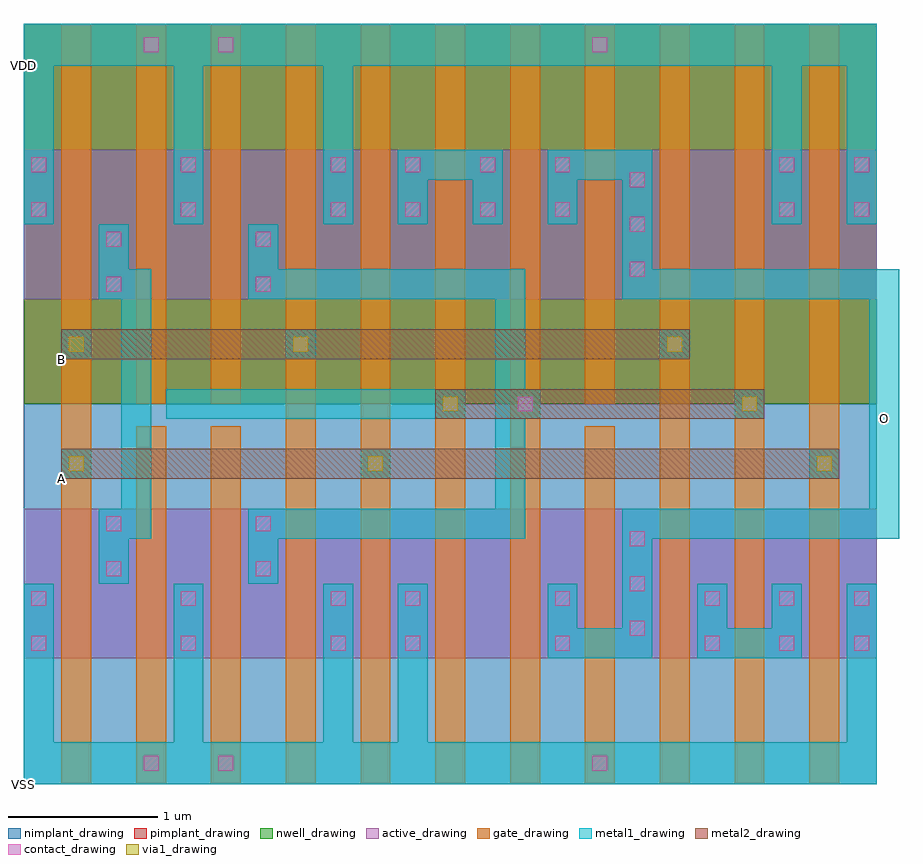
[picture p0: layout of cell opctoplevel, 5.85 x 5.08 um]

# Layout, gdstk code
import gdstk
lib = gdstk.Library(unit=1e-6, precision=1e-09)
def R(c, l, rs):  # rectangles x0, y0, x1, y1
    for r in rs: c.add(gdstk.rectangle(r[:2], r[2:], *l))
def A(c, l, x, y, w, h, nx, ny, dx, dy):  # array of equal rectangles
    R(c, l, [(x+i*dx, y+j*dy, x+i*dx+w, y+j*dy+h) for i in range(nx) for j in range(ny)])
active_drawing = (1, 0)
nwell_drawing = (3, 0)
pimplant_drawing = (4, 0)
nimplant_drawing = (5, 0)
gate_drawing = (6, 0)
contact_drawing = (7, 0)
metal1_drawing = (8, 0)
via1_drawing = (9, 0)
metal2_drawing = (10, 0)

opctoplevel = lib.new_cell('opctoplevel')
A(opctoplevel, active_drawing, 0, 0, 0.7, 1, 11, 2, 0.5, 2.4)
A(opctoplevel, nwell_drawing, 0, 1.7, 0.7, 2.54, 11, 1, 0.5, 0)
A(opctoplevel, pimplant_drawing, 0, 1.7, 0.7, 2.54, 11, 1, 0.5, 0)
A(opctoplevel, nimplant_drawing, 0, -0.84, 0.7, 2.54, 11, 1, 0.5, 0)
A(opctoplevel, gate_drawing, 0.25, 1.7, 0.2, 2.54, 11, 1, 0.5, 0)
R(opctoplevel, gate_drawing, [(0.25,-0.84,0.45,1.7), (0.75,-0.84,0.95,1.55), (0.75,-0.84,0.95,-0.56), (1.25,-0.84,1.45,1.55), (1.25,-0.84,1.45,-0.56), (1.75,-0.84,1.95,2.2), (2.25,-0.84,2.45,1.7), (2.75,-0.84,2.95,1.8), (3.25,-0.84,3.45,1.8), (3.75,-0.84,3.95,1.55), (3.75,-0.84,3.95,-0.56), (4.25,-0.84,4.45,2.2), (4.75,-0.84,4.95,1.8), (5.25,-0.84,5.45,1.7), (0.25,1.2,0.45,1.4), (2.25,1.2,2.45,1.4), (5.25,1.2,5.45,1.4), (2.75,1.6,2.95,1.8), (3.25,1.6,3.45,1.8), (4.75,1.6,4.95,1.8), (1.75,2,1.95,2.2), (4.25,2,4.45,2.2), (0.75,3.96,0.95,4.24), (1.25,3.96,1.45,4.24), (3.75,3.96,3.95,4.24)])
A(opctoplevel, contact_drawing, 0.05, 0.05, 0.1, 0.1, 3, 2, 1, 0.3)
A(opctoplevel, contact_drawing, 2.55, 0.05, 0.1, 0.1, 3, 2, 1, 0.3)
A(opctoplevel, contact_drawing, 4.05, 0.15, 0.1, 0.1, 1, 3, 0, 0.3)
A(opctoplevel, contact_drawing, 4.05, 2.55, 0.1, 0.1, 1, 3, 0, 0.3)
A(opctoplevel, contact_drawing, 0.05, 2.95, 0.1, 0.1, 3, 2, 1, 0.3)
A(opctoplevel, contact_drawing, 2.55, 2.95, 0.1, 0.1, 3, 2, 0.5, 0.3)
R(opctoplevel, contact_drawing, [(0.8,-0.75,0.9,-0.65), (1.3,-0.75,1.4,-0.65), (3.8,-0.75,3.9,-0.65), (5.05,0.05,5.15,0.15), (5.55,0.05,5.65,0.15), (5.05,0.35,5.15,0.45), (5.55,0.35,5.65,0.45), (0.55,0.55,0.65,0.65), (1.55,0.55,1.65,0.65), (0.55,0.85,0.65,0.95), (1.55,0.85,1.65,0.95), (0.3,1.25,0.4,1.35), (2.3,1.25,2.4,1.35), (5.3,1.25,5.4,1.35), (2.8,1.65,2.9,1.75), (3.3,1.65,3.4,1.75), (4.8,1.65,4.9,1.75), (1.8,2.05,1.9,2.15), (4.3,2.05,4.4,2.15), (0.55,2.45,0.65,2.55), (1.55,2.45,1.65,2.55), (0.55,2.75,0.65,2.85), (1.55,2.75,1.65,2.85), (5.05,2.95,5.15,3.05), (5.55,2.95,5.65,3.05), (5.05,3.25,5.15,3.35), (5.55,3.25,5.65,3.35), (0.8,4.05,0.9,4.15), (1.3,4.05,1.4,4.15), (3.8,4.05,3.9,4.15)])
A(opctoplevel, metal1_drawing, 0, -0.56, 0.2, 0.56, 3, 2, 1, 3.96)
A(opctoplevel, metal1_drawing, 0, 0, 0.2, 0.5, 3, 2, 1, 2.9)
A(opctoplevel, metal1_drawing, 2.5, 0, 0.2, 0.5, 3, 1, 1, 0)
A(opctoplevel, metal1_drawing, 2.5, 2.9, 0.2, 0.5, 3, 1, 0.5, 0)
R(opctoplevel, metal1_drawing, [(0,-0.84,5.7,-0.56), (0.75,-0.84,0.95,-0.56), (0.75,-0.84,0.95,-0.56), (1.25,-0.84,1.45,-0.56), (1.25,-0.84,1.45,-0.56), (3.75,-0.84,3.95,-0.56), (3.75,-0.84,3.95,-0.56), (2.5,-0.56,2.7,0), (5.5,-0.56,5.7,0), (3.7,0,4,0.2), (4,0,4.2,1), (4.7,0,5,0.2), (5,0,5.2,0.5), (5.5,0,5.7,0.5), (0.5,0.5,0.7,1), (1.5,0.5,1.7,1), (0.25,1.2,0.45,1.4), (0.25,1.2,0.45,1.4), (0.25,1.2,0.45,1.4), (2.25,1.2,2.45,1.4), (2.25,1.2,2.45,1.4), (2.25,1.2,2.45,1.4), (5.25,1.2,5.45,1.4), (5.25,1.2,5.45,1.4), (5.25,1.2,5.45,1.4), (0.95,1.6,2.75,1.8), (2.75,1.6,2.95,1.8), (2.75,1.6,2.95,1.8), (2.75,1.6,2.95,1.8), (3.25,1.6,3.45,1.8), (3.25,1.6,3.45,1.8), (4.75,1.6,4.95,1.8), (4.75,1.6,4.95,1.8), (4.75,1.6,4.95,1.8), (0.25,2,0.45,2.2), (1.75,2,1.95,2.2), (1.75,2,1.95,2.2), (1.75,2,1.95,2.2), (4.25,2,4.45,2.2), (4.25,2,4.45,2.2), (4.25,2,4.45,2.2), (0.5,2.4,0.7,2.9), (1.5,2.4,1.7,2.9), (4,2.4,4.2,3.4), (5,2.9,5.2,3.4), (5.5,2.9,5.7,3.4), (2.7,3.2,3,3.4), (3.7,3.2,4,3.4), (5,3.4,5.2,3.96), (5.5,3.4,5.7,3.96), (0,3.96,5.7,4.24), (0.75,3.96,0.95,4.24), (0.75,3.96,0.95,4.24), (1.25,3.96,1.45,4.24), (1.25,3.96,1.45,4.24), (3.75,3.96,3.95,4.24), (3.75,3.96,3.95,4.24)])
R(opctoplevel, via1_drawing, [(0.3,1.25,0.4,1.35), (2.3,1.25,2.4,1.35), (5.3,1.25,5.4,1.35), (2.8,1.65,2.9,1.75), (4.8,1.65,4.9,1.75), (0.3,2.05,0.4,2.15), (1.8,2.05,1.9,2.15), (4.3,2.05,4.4,2.15)])
R(opctoplevel, metal2_drawing, [(0.25,1.2,0.45,1.4), (0.45,1.2,5.25,1.4), (2.25,1.2,2.45,1.4), (5.25,1.2,5.45,1.4), (2.75,1.6,2.95,1.8), (2.95,1.6,4.75,1.8), (4.75,1.6,4.95,1.8), (0.25,2,0.45,2.2), (0.45,2,4.25,2.2), (1.75,2,1.95,2.2), (4.25,2,4.45,2.2)])
opctoplevel.add(gdstk.FlexPath([(4.2,2.5),(5.75,2.5),(5.75,0.9),(4.2,0.9)], 0.2, ends="flush", simple_path=True, layer=8, datatype=0))  # metal1_drawing
opctoplevel.add(gdstk.FlexPath([(0.7,2.5),(0.75,2.5),(0.75,0.9),(0.7,0.9)], 0.2, ends="flush", simple_path=True, layer=8, datatype=0))  # metal1_drawing
opctoplevel.add(gdstk.FlexPath([(1.7,2.5),(3.25,2.5),(3.25,0.9),(1.7,0.9)], 0.2, ends="flush", simple_path=True, layer=8, datatype=0))  # metal1_drawing
opctoplevel.add(gdstk.Label('A', (0.25,1.2), layer=8, texttype=1))
opctoplevel.add(gdstk.Label('B', (0.25,2), layer=8, texttype=1))
opctoplevel.add(gdstk.Label('O', (5.75,1.6), layer=8, texttype=1))
opctoplevel.add(gdstk.Label('VDD', (0,3.96), layer=8, texttype=1))
opctoplevel.add(gdstk.Label('VSS', (0,-0.84), layer=8, texttype=1))

lib.write_gds('opctoplevel.gds')
